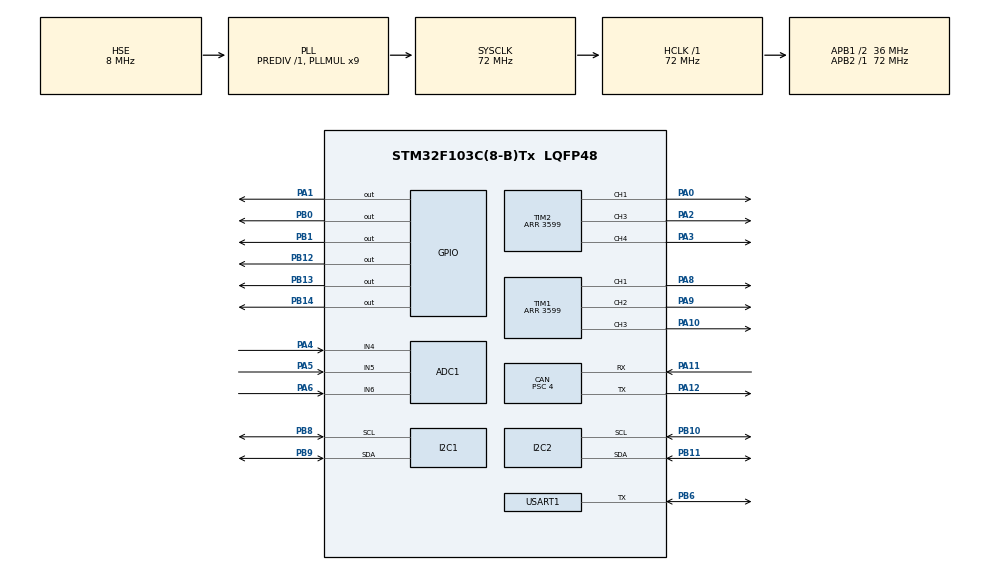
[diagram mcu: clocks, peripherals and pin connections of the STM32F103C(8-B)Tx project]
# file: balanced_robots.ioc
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ADC1.Channel-0\#ChannelRegularConversion=ADC_CHANNEL_4
ADC1.Channel-1\#ChannelRegularConversion=ADC_CHANNEL_5
ADC1.Channel-2\#ChannelRegularConversion=ADC_CHANNEL_6
ADC1.NbrOfConversion=3
ADC1.NbrOfConversionFlag=1
ADC1.Rank-0\#ChannelRegularConversion=1
ADC1.Rank-1\#ChannelRegularConversion=2
ADC1.Rank-2\#ChannelRegularConversion=3
ADC1.SamplingTime-0\#ChannelRegularConversion=ADC_SAMPLETIME_55CYCLES_5
ADC1.SamplingTime-1\#ChannelRegularConversion=ADC_SAMPLETIME_55CYCLES_5
ADC1.SamplingTime-2\#ChannelRegularConversion=ADC_SAMPLETIME_55CYCLES_5
ADC1.master=1
CAN.BS1=CAN_BS1_10TQ
CAN.BS2=CAN_BS2_5TQ
CAN.CalculateBaudRate=562500
CAN.CalculateTimeBit=1777
CAN.CalculateTimeQuantum=111.11111111111111
CAN.Prescaler=4
I2C1.I2C_Mode=I2C_Fast
I2C2.I2C_Mode=I2C_Fast
Mcu.Family=STM32F1
Mcu.Name=STM32F103C(8-B)Tx
Mcu.Package=LQFP48
NVIC.PriorityGroup=NVIC_PRIORITYGROUP_4
NVIC.USB_LP_CAN1_RX0_IRQn=true\:0\:0\:false\:false\:true\:true\:true\:true
PA0-WKUP.Signal=S_TIM2_CH1_ETR
PA1.PinState=GPIO_PIN_RESET
PA1.Signal=GPIO_Output
PA10.Signal=S_TIM1_CH3
PA11.Mode=CAN_Activate
PA11.Signal=CAN_RX
PA12.Mode=CAN_Activate
PA12.Signal=CAN_TX
PA13.Mode=Serial_Wire
PA13.Signal=SYS_JTMS-SWDIO
PA14.Mode=Serial_Wire
PA14.Signal=SYS_JTCK-SWCLK
PA2.Signal=S_TIM2_CH3
PA3.Signal=S_TIM2_CH4
PA4.Signal=ADCx_IN4
PA5.Signal=ADCx_IN5
PA6.Signal=ADCx_IN6
PA8.Signal=S_TIM1_CH1
PA9.Signal=S_TIM1_CH2
PB0.PinState=GPIO_PIN_RESET
PB0.Signal=GPIO_Output
PB1.PinState=GPIO_PIN_RESET
PB1.Signal=GPIO_Output
PB10.Mode=I2C
PB10.Signal=I2C2_SCL
PB11.Mode=I2C
PB11.Signal=I2C2_SDA
PB12.PinState=GPIO_PIN_RESET
PB12.Signal=GPIO_Output
PB13.PinState=GPIO_PIN_RESET
PB13.Signal=GPIO_Output
PB14.PinState=GPIO_PIN_RESET
PB14.Signal=GPIO_Output
PB6.Mode=Half_duplex(single_wire_mode)
PB6.Signal=USART1_TX
PB8.Mode=I2C
PB8.Signal=I2C1_SCL
PB9.Mode=I2C
PB9.Signal=I2C1_SDA
PD0-OSC_IN.Mode=HSE-External-Oscillator
PD0-OSC_IN.Signal=RCC_OSC_IN
PD1-OSC_OUT.Mode=HSE-External-Oscillator
PD1-OSC_OUT.Signal=RCC_OSC_OUT
ProjectManager.HeapSize=0x200
ProjectManager.StackSize=0x400
ProjectManager.TargetToolchain=MDK-ARM V5.32
RCC.ADCPresc=RCC_ADCPCLK2_DIV6
RCC.AHBFreq_Value=72000000
RCC.APB1CLKDivider=RCC_HCLK_DIV2
RCC.APB1Freq_Value=36000000
RCC.APB1TimFreq_Value=72000000
RCC.APB2Freq_Value=72000000
RCC.APB2TimFreq_Value=72000000
RCC.HCLKFreq_Value=72000000
RCC.PLLMUL=RCC_PLL_MUL9
RCC.PLLSourceVirtual=RCC_PLLSOURCE_HSE
RCC.SYSCLKFreq_VALUE=72000000
RCC.SYSCLKSource=RCC_SYSCLKSOURCE_PLLCLK
RCC.USBFreq_Value=72000000
SH.ADCx_IN4.0=ADC1_IN4,IN4
SH.ADCx_IN5.0=ADC1_IN5,IN5
SH.ADCx_IN6.0=ADC1_IN6,IN6
SH.S_TIM1_CH1.0=TIM1_CH1,PWM Generation1 CH1
SH.S_TIM1_CH2.0=TIM1_CH2,PWM Generation2 CH2
SH.S_TIM1_CH3.0=TIM1_CH3,PWM Generation3 CH3
SH.S_TIM2_CH1_ETR.0=TIM2_CH1,PWM Generation1 CH1
SH.S_TIM2_CH3.0=TIM2_CH3,PWM Generation3 CH3
SH.S_TIM2_CH4.0=TIM2_CH4,PWM Generation4 CH4
TIM1.Channel-PWM\ Generation1\ CH1=TIM_CHANNEL_1
TIM1.Channel-PWM\ Generation2\ CH2=TIM_CHANNEL_2
TIM1.Channel-PWM\ Generation3\ CH3=TIM_CHANNEL_3
TIM1.Period=3599
TIM2.Channel-PWM\ Generation1\ CH1=TIM_CHANNEL_1
TIM2.Channel-PWM\ Generation3\ CH3=TIM_CHANNEL_3
TIM2.Channel-PWM\ Generation4\ CH4=TIM_CHANNEL_4
TIM2.Period=3599
USART1.BaudRate=1000000
USART1.VirtualMode=VM_ASYNC
board=custom

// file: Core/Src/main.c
/* USER CODE BEGIN Header */
/**
  ******************************************************************************
  * @file           : main.c
  * @brief          : 轮腿机器人主程序（STM32F103C8T6 版）
  *
  * 移植说明（ESP32/Arduino → STM32 HAL）：
  *   · 原版 setup()  → MX_*_Init() + Robot_Setup()
  *   · 原版 loop()   → Robot_Loop()，由 TIM4 的 1kHz 节拍驱动
  *   · 原版 WiFi/WebSocket → CAN（TJA1050，500kbps，与上位机 USB-CAN 通信）
  *
  * 控制流程（严格对应原版 loop() 的顺序）：
  *   1. 更新 CAN 指令（替代原版 web_loop）
  *   2. 采样电流/电压（替代原版 bat_check，改为逐周期采样）
  *   3. 更新 IMU（原版 mpu6050.update()）
  *   4. 更新编码器 + FOC（原版 motor1/2.loopFOC()）
  *   5. LQR 自平衡（原版 lqr_balance_loop()）
  *   6. YAW 转向（原版 yaw_loop()）
  *   7. 腿部/跳跃（原版 leg_loop()，降频到 200Hz 以减轻总线负担）
  *   8. 输出到电机（原版 motor1/2.move()）+ 过流保护
  *   9. CAN 状态上报（替代原版 Serial 打印）
  ******************************************************************************
  */
/* USER CODE END Header */
#include "main.h"
#include "adc.h"
#include "can.h"
#include "i2c.h"
#include "tim.h"
#include "usart.h"
#include "gpio.h"

/* USER CODE BEGIN Includes */
#include "robot_config.h"
#include "hardware.h"
#include "l6234.h"
#include "as5600.h"
#include "mpu6050.h"
#include "sts3032.h"
#include "can_proto.h"
#include "motor.h"
#include "controller.h"
#if (DEBUG_SELFTEST_ENABLE != 0)
#include "selftest.h"
#endif
/* USER CODE END Includes */

/* USER CODE BEGIN PD */

/** @brief 电角度对齐电压（对应原版 motor.voltage_sensor_align = 6） */
#define ROBOT_ALIGN_VOLTAGE     6.0f

/** @brief 舵机控制降频周期（ms）。原版每循环都发同步写；1Mbps 下一帧约 110us，
 *         为把总线占用压到 2%，这里改为每 5ms 发一次（200Hz），
 *         对腿部动作的响应完全没有影响。 */
#define SERVO_UPDATE_PERIOD_MS  5U

/* USER CODE END PD */

/* USER CODE BEGIN PV */

/** @brief 控制节拍标志：由 TIM4 中断置位，主循环消费 */
static volatile uint8_t s_control_tick = 0U;

/** @brief 上次舵机更新时间 */
static uint32_t s_servo_last_ms = 0U;

/** @brief TIM4 控制节拍定时器句柄（必须在文件作用域，中断里也要用） */
static TIM_HandleTypeDef s_htim4;

/* USER CODE END PV */

void SystemClock_Config(void);
/* USER CODE BEGIN PFP */
static void ControlTimer_Init(void);
static void Robot_Setup(void);
static void Robot_Loop(void);
static void Robot_UpdateLegServo(void);
static void Robot_SendTelemetry(void);
/* USER CODE END PFP */

/* USER CODE BEGIN 0 */

/**
 * @brief  初始化 1kHz 控制节拍定时器（TIM4）
 *
 * TIM4 挂在 APB1（36MHz），但 APB1 分频系数为 2，定时器时钟自动 ×2 = 72MHz。
 *   Prescaler = 71  → 计数时钟 1MHz
 *   Period    = 999 → 每 1000 个计数溢出一次 = 1kHz
 *
 * 这样控制循环的周期抖动只有几十个 ns，远优于 HAL_Delay(1)（抖动可达 1ms）。
 */
static void ControlTimer_Init(void)
{
    __HAL_RCC_TIM4_CLK_ENABLE();

    s_htim4.Instance               = TIM4;
    s_htim4.Init.Prescaler         = 71U;
    s_htim4.Init.CounterMode       = TIM_COUNTERMODE_UP;
    s_htim4.Init.Period            = 999U;
    s_htim4.Init.ClockDivision     = TIM_CLOCKDIVISION_DIV1;
    s_htim4.Init.AutoReloadPreload = TIM_AUTORELOAD_PRELOAD_ENABLE;

    if (HAL_TIM_Base_Init(&s_htim4) != HAL_OK) {
        Error_Handler();
    }

    /* 抢占优先级 1，低于 CAN 接收（0），高于 SysTick（15） */
    HAL_NVIC_SetPriority(TIM4_IRQn, 1U, 0U);
    HAL_NVIC_EnableIRQ(TIM4_IRQn);

    (void)HAL_TIM_Base_Start_IT(&s_htim4);
}

/**
 * @brief  TIM4 更新中断（1kHz 控制节拍）
 * @note   中断服务函数本体放在本文件（CubeMX 生成的 stm32f1xx_it.c 中
 *         没有 TIM4，这里直接提供强定义，避免额外改动生成代码）。
 *         中断内只置标志，所有耗时操作都放在主循环里做。
 */
void TIM4_IRQHandler(void)
{
    if (__HAL_TIM_GET_FLAG(&s_htim4, TIM_FLAG_UPDATE) != RESET) {
        if (__HAL_TIM_GET_IT_SOURCE(&s_htim4, TIM_IT_UPDATE) != RESET) {
            __HAL_TIM_CLEAR_IT(&s_htim4, TIM_IT_UPDATE);
            s_control_tick = 1U;
        }
    }
}

/**
 * @brief  机器人初始化（对应原版 setup() 的机器人部分）
 *
 * 顺序严格对应原版：
 *   1. 舵机总线初始化（原版 Serial2.begin(1000000)）
 *   2. 舵机中位设置（原版 sms_sts.SyncWritePosEx(ID, 2, Position, Speed, ACC)）
 *   3. 编码器初始化（原版 sensor1/sensor2.init()）
 *   4. IMU 初始化 + 陀螺仪零偏标定（原版 mpu6050.begin()/calcGyroOffsets(true)）
 *   5. 电机驱动使能 + FOC 对齐（原版 driver.init() / motor.init() / initFOC()）
 */
static void Robot_Setup(void)
{
    uint8_t aligned_l;
    uint8_t aligned_r;

    /* ---- 1. 舵机总线 ---- */
    STS3032_Init();

    /* ---- 2. 控制层初始化（含舵机中位，对应原版 setup 的舵机部分） ---- */
    Controller_Init();

    /* ---- 3. 编码器 ---- */
    AS5600_Init();

    /* ---- 4. IMU：初始化 + 零偏标定（标定期间绝对不能动机器人） ---- */
    MPU6050_Begin();
    MPU6050_CalcGyroOffsets(MPU6050_GYRO_CALIB_N);

    /* ---- 5. 电机：驱动使能 + 传感器/驱动绑定 + 电角度对齐 ---- */
    Motor_Init(&motor1);            /* 对应 motor1.linkSensor/linkDriver/init() */
    Motor_Init(&motor2);

    aligned_l = Motor_InitFOC(&motor1, ROBOT_ALIGN_VOLTAGE);   /* 对应 motor1.initFOC() */
    aligned_r = Motor_InitFOC(&motor2, ROBOT_ALIGN_VOLTAGE);   /* 对应 motor2.initFOC() */

    /* 对齐失败（编码器离线/接线错误）时关闭输出，避免失控 */
    if ((aligned_l == 0U) || (aligned_r == 0U)) {
        Motor_Enable(&motor1, 0U);
        Motor_Enable(&motor2, 0U);
    }

    /* ---- 6. 控制节拍定时器 ---- */
    ControlTimer_Init();

    /* 对应原版 setup() 末尾的 delay(500)，等待一切稳定 */
    delay_ms(500U);
}

/**
 * @brief  腿部舵机更新（原版 leg_loop 的调用点，降频到 200Hz）
 */
static void Robot_UpdateLegServo(void)
{
    if ((millis() - s_servo_last_ms) < SERVO_UPDATE_PERIOD_MS) {
        return;
    }
    s_servo_last_ms = millis();

    Controller_LegLoop();
}

/**
 * @brief  CAN 状态上报（替代原版 Serial 打印）
 */
static void Robot_SendTelemetry(void)
{
    uint8_t status = 0U;

    if (imu.online)           { status |= 0x01U; }
    if (encoder_left.online)  { status |= 0x02U; }
    if (encoder_right.online) { status |= 0x04U; }
    if (L6234_IsFaulted(&motor_left))  { status |= 0x08U; }
    if (L6234_IsFaulted(&motor_right)) { status |= 0x10U; }
    if (current_sense.battery_voltage < BAT_LOW_THRESHOLD_V) { status |= 0x20U; }
    if (sts.error_count > 0U) { status |= 0x40U; }

    CAN_Proto_TelemetryTick(LQR_angle, LQR_gyro,
                            motor1.shaft_velocity, motor2.shaft_velocity,
                            current_sense.current_left, current_sense.current_right,
                            current_sense.battery_voltage,
                            status, sts.error_count);
}

/**
 * @brief  主控制循环（对应原版 loop()，顺序完全一致）
 */
static void Robot_Loop(void)
{
    /* ===== 1. 更新上位机指令（原版 web_loop → rp.spinOnce） ===== */
    Controller_UpdateFromCan();

    /* ===== 2. 电流/电压采样（原版 bat_check，改为逐周期） ===== */
    ADC_Sense_Update();

    /* ===== 3. IMU 更新（原版 mpu6050.update()） ===== */
    MPU6050_Update(CONTROL_DT);

    /* ===== 4. 编码器 + FOC（原版 motor1/2.loopFOC()） ===== */
    Motor_LoopFOC(&motor1, CONTROL_DT);
    Motor_LoopFOC(&motor2, CONTROL_DT);

    /* ===== 5. LQR 自平衡（原版 lqr_balance_loop()） ===== */
    Controller_LqrBalanceLoop();

    /* ===== 6. YAW 转向（原版 yaw_loop()） ===== */
    Controller_YawLoop();

    /* ===== 7. 腿部动作（原版 leg_loop()，降频执行） ===== */
    Robot_UpdateLegServo();

    /* ===== 8. 下发输出到电机（原版 loop() 末尾的 target 计算 + move()） ===== */
    Controller_ApplyMotorOutput();

    /* 过流保护：任一电机触发保护则强制目标为 0（避免堵转烧 L6234） */
    if ((L6234_CurrentProtect(&motor_left, current_sense.current_left, CONTROL_DT) == 0U) ||
        (L6234_CurrentProtect(&motor_right, current_sense.current_right, CONTROL_DT) == 0U)) {
        motor1.target = 0.0f;
        motor2.target = 0.0f;
    }

    Motor_Move(&motor1);
    Motor_Move(&motor2);

    /* ===== 9. 状态上报 ===== */
    Robot_SendTelemetry();
}

/* USER CODE END 0 */

int main(void)
{

  /* MCU Configuration--------------------------------------------------------*/

  /* Reset of all peripherals, Initializes the Flash interface and the Systick. */
  HAL_Init();

  /* USER CODE BEGIN Init */
  /* 提高中断优先级分组灵活性：使用 4 位抢占优先级 */
  HAL_NVIC_SetPriorityGrouping(NVIC_PRIORITYGROUP_4);
  /* USER CODE END Init */

  /* Configure the system clock */
  SystemClock_Config();

  /* Initialize all configured peripherals */
  MX_GPIO_Init();
  MX_ADC1_Init();
  MX_I2C1_Init();
  MX_I2C2_Init();
  MX_TIM1_Init();
  MX_TIM2_Init();
  MX_USART1_UART_Init();
  MX_CAN_Init();

  /* Infinite loop */
  while (1)
  {

    /* USER CODE BEGIN 3 */
    /* 由 TIM4 的 1kHz 中断置位，主循环按 1kHz 节拍执行控制 */
    if (s_control_tick != 0U) {
      s_control_tick = 0U;
      Robot_Loop();
    }
  }
#endif
  /* USER CODE END 3 */
}

void SystemClock_Config(void)
{
  RCC_OscInitTypeDef RCC_OscInitStruct = {0};
  RCC_ClkInitTypeDef RCC_ClkInitStruct = {0};
  RCC_PeriphCLKInitTypeDef PeriphClkInit = {0};

  /** Initializes the RCC Oscillators according to the specified parameters
  * in the RCC_OscInitTypeDef structure.
  */
  RCC_OscInitStruct.OscillatorType = RCC_OSCILLATORTYPE_HSE;
  RCC_OscInitStruct.HSEState = RCC_HSE_ON;
  RCC_OscInitStruct.HSEPredivValue = RCC_HSE_PREDIV_DIV1;
  RCC_OscInitStruct.HSIState = RCC_HSI_ON;
  RCC_OscInitStruct.PLL.PLLState = RCC_PLL_ON;
  RCC_OscInitStruct.PLL.PLLSource = RCC_PLLSOURCE_HSE;
  RCC_OscInitStruct.PLL.PLLMUL = RCC_PLL_MUL9;
  if (HAL_RCC_OscConfig(&RCC_OscInitStruct) != HAL_OK)
  {
    Error_Handler();
  }

  /** Initializes the CPU, AHB and APB buses clocks
  */
  RCC_ClkInitStruct.ClockType = RCC_CLOCKTYPE_HCLK|RCC_CLOCKTYPE_SYSCLK
                              |RCC_CLOCKTYPE_PCLK1|RCC_CLOCKTYPE_PCLK2;
  RCC_ClkInitStruct.SYSCLKSource = RCC_SYSCLKSOURCE_PLLCLK;
  RCC_ClkInitStruct.AHBCLKDivider = RCC_SYSCLK_DIV1;
  RCC_ClkInitStruct.APB1CLKDivider = RCC_HCLK_DIV2;
  RCC_ClkInitStruct.APB2CLKDivider = RCC_HCLK_DIV1;

  if (HAL_RCC_ClockConfig(&RCC_ClkInitStruct, FLASH_LATENCY_2) != HAL_OK)
  {
    Error_Handler();
  }
  PeriphClkInit.PeriphClockSelection = RCC_PERIPHCLK_ADC;
  PeriphClkInit.AdcClockSelection = RCC_ADCPCLK2_DIV6;
  if (HAL_RCCEx_PeriphCLKConfig(&PeriphClkInit) != HAL_OK)
  {
    Error_Handler();
  }
}

void Error_Handler(void)
{
  __disable_irq();
  while (1)
  {
  }
}
